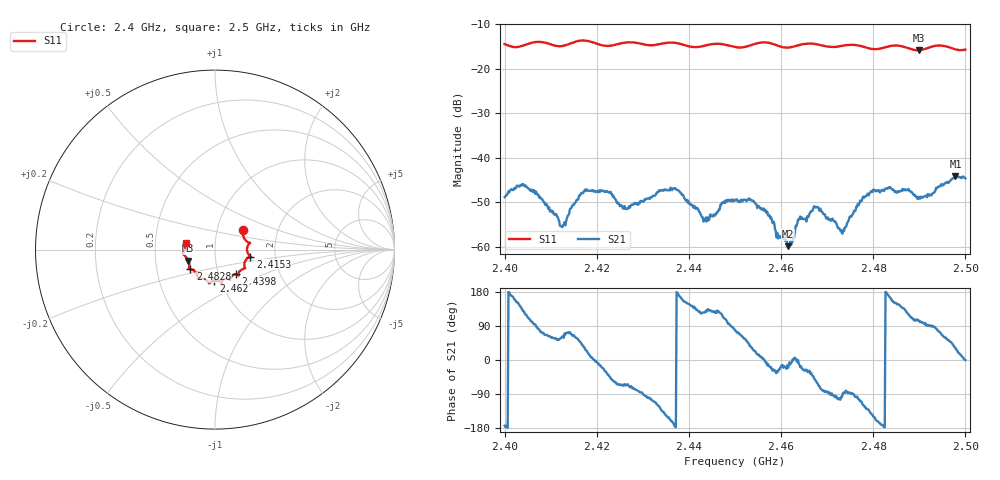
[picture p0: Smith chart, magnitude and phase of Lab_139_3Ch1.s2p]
# Hz S RI R 50
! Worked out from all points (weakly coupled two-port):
!   601 points, 2.4 GHz to 2.5 GHz, reference 50 ohm
!   highest |S21| = -44.13 dB at 2.4978 GHz (marker M1); lowest = -59.9 dB at 2.4615 GHz (marker M2)
!   lowest |S11| = -15.9 dB at 2.4898 GHz (marker M3), VSWR 1.38, Z = 36.8 - j4.61 ohm
!   |S11| at or under -10 dB: start of sweep to end of sweep
!   S12 and S22 are empty: the file has one direction only
!   S11 on the Smith chart (normalised r, x): 2.4 GHz: 1.33, +0.30; 2.4153 GHz: 1.48, -0.12; 2.4398 GHz: 1.21, -0.34; 2.462 GHz: 0.93, -0.33; 2.4828 GHz: 0.74, -0.17; 2.5 GHz: 0.72, +0.06
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2.4e9  0.1553 0.107  -0.00358 -0.000402  0 0  0 0
2.404333e9  0.1781 0.0445  -0.00267 0.00395  0 0  0 0
2.4125e9  0.1791 -0.00729  0.000772 0.00147  0 0  0 0
2.415333e9  0.1965 -0.0385  0.00157 0.00268  0 0  0 0
2.416667e9  0.2023 -0.0426  0.00291 0.00277  0 0  0 0
2.4225e9  0.1656 -0.0703  0.00318 -0.00255  0 0  0 0
2.426333e9  0.1676 -0.1022  0.00103 -0.00244  0 0  0 0
2.433333e9  0.1307 -0.1338  -0.00211 -0.00352  0 0  0 0
2.439833e9  0.1152 -0.1363  -0.00263 0.00162  0 0  0 0
2.443667e9  0.0864 -0.1606  -0.00136 0.00163  0 0  0 0
2.45e9  0.0648 -0.1623  0.000601 0.00327  0 0  0 0
2.4565e9  0.0391 -0.193  0.0026 -0.000142  0 0  0 0
2.4615e9  0.00196 -0.172  0.000945 -0.000367  0 0  0 0
2.462e9  -0.00497 -0.1732  0.00113 -0.000229  0 0  0 0
2.466667e9  -0.0342 -0.188  0.00196 -0.00157  0 0  0 0
2.473333e9  -0.0829 -0.1605  -3.22e-05 -0.0014  0 0  0 0
2.478167e9  -0.0992 -0.1431  -0.00205 -0.00301  0 0  0 0
2.482833e9  -0.1366 -0.1094  -0.00451 9.14e-05  0 0  0 0
2.483333e9  -0.1405 -0.1091  -0.00446 0.000825  0 0  0 0
2.489833e9  -0.1484 -0.061  -0.000818 0.00354  0 0  0 0
2.497833e9  -0.1644 0.00303  0.00526 0.0033  0 0  0 0
2.5e9  -0.1592 0.039  0.00585 -2.55e-05  0 0  0 0
